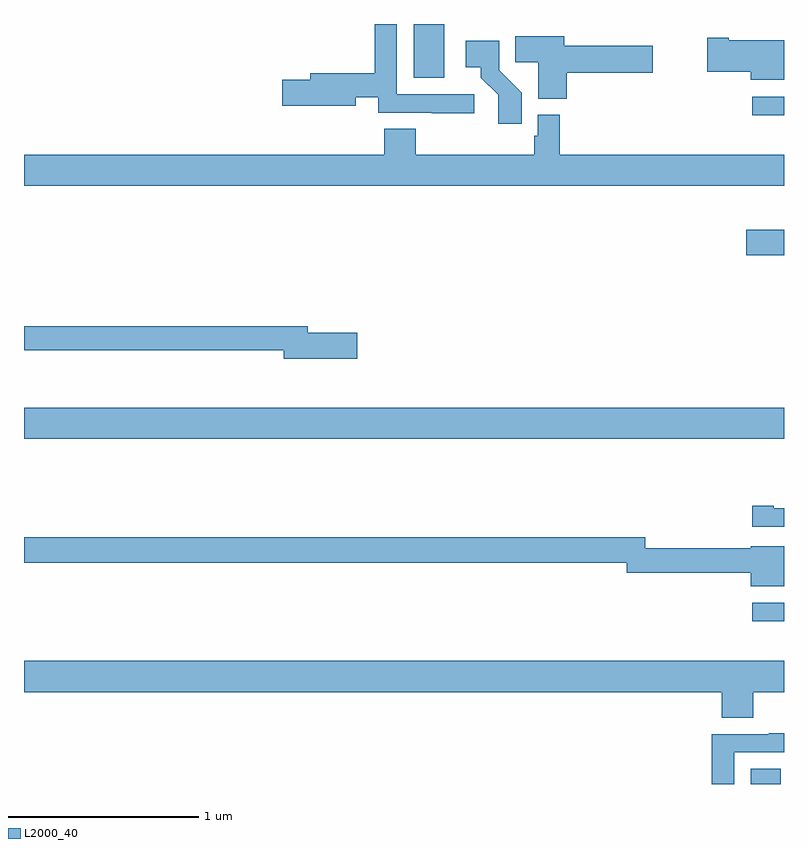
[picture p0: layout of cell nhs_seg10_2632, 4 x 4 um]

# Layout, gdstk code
import gdstk
lib = gdstk.Library(unit=1e-6, precision=1e-09)
def R(c, l, rs):  # rectangles x0, y0, x1, y1
    for r in rs: c.add(gdstk.rectangle(r[:2], r[2:], *l))
def P(c, l, *ps):  # polygons
    for p in ps: c.add(gdstk.Polygon(p, *l))
L2000_40 = (2000, 40)

nhs_seg10_2632 = lib.new_cell('nhs_seg10_2632')
R(nhs_seg10_2632, L2000_40, [(256.826,1298.5,256.984,1298.581), (256.833,1299.357,257,1299.453), (253,1300.316,257,1300.48), (256.8,1301.282,257,1301.416), (256.833,1302.021,257,1302.117), (255.05,1302.216,255.211,1302.5)])
P(nhs_seg10_2632, L2000_40, [(255.37,1302.129),(254.961,1302.129),(254.961,1302.5),(254.845,1302.5),(254.845,1302.242),(254.507,1302.242),(254.507,1302.206),(254.358,1302.206),(254.358,1302.071),(254.746,1302.071),(254.746,1302.114),(254.865,1302.114),(254.865,1302.033),(255.145,1302.033),(255.145,1302.031),(255.37,1302.031)],
  [(255.857,1302.244),(256.309,1302.244),(256.309,1302.386),(255.844,1302.386),(255.844,1302.436),(255.586,1302.436),(255.586,1302.298),(255.707,1302.298),(255.707,1302.107),(255.857,1302.107)],
  [(257,1302.415),(256.708,1302.415),(256.708,1302.428),(256.596,1302.428),(256.596,1302.25),(256.826,1302.25),(256.826,1302.206),(257,1302.206)],
  [(255.62,1302.138),(255.501,1302.257),(255.501,1302.412),(255.324,1302.412),(255.324,1302.272),(255.404,1302.272),(255.404,1302.217),(255.495,1302.127),(255.495,1301.976),(255.62,1301.976)],
  [(255.705,1302.022),(255.705,1301.913),(255.685,1301.913),(255.685,1301.812),(255.062,1301.812),(255.062,1301.948),(254.897,1301.948),(254.897,1301.812),(253,1301.812),(253,1301.648),(257,1301.648),(257,1301.812),(255.821,1301.812),(255.821,1302.022)],
  [(254.755,1300.874),(254.494,1300.874),(254.494,1300.91),(253,1300.91),(253,1300.782),(254.366,1300.782),(254.366,1300.739),(254.755,1300.739)],
  [(257,1299.951),(256.945,1299.951),(256.945,1299.964),(256.833,1299.964),(256.833,1299.855),(257,1299.855)],
  [(257,1299.751),(256.826,1299.751),(256.826,1299.74),(256.269,1299.74),(256.269,1299.8),(253,1299.8),(253,1299.664),(256.173,1299.664),(256.173,1299.612),(256.826,1299.612),(256.826,1299.542),(257,1299.542)],
  [(256.838,1298.984),(257,1298.984),(257,1299.148),(253,1299.148),(253,1298.984),(256.673,1298.984),(256.673,1298.848),(256.838,1298.848)],
  [(256.737,1298.667),(257,1298.667),(257,1298.766),(256.921,1298.766),(256.921,1298.763),(256.621,1298.763),(256.621,1298.5),(256.737,1298.5)])

lib.write_gds('nhs_seg10_2632.gds')
